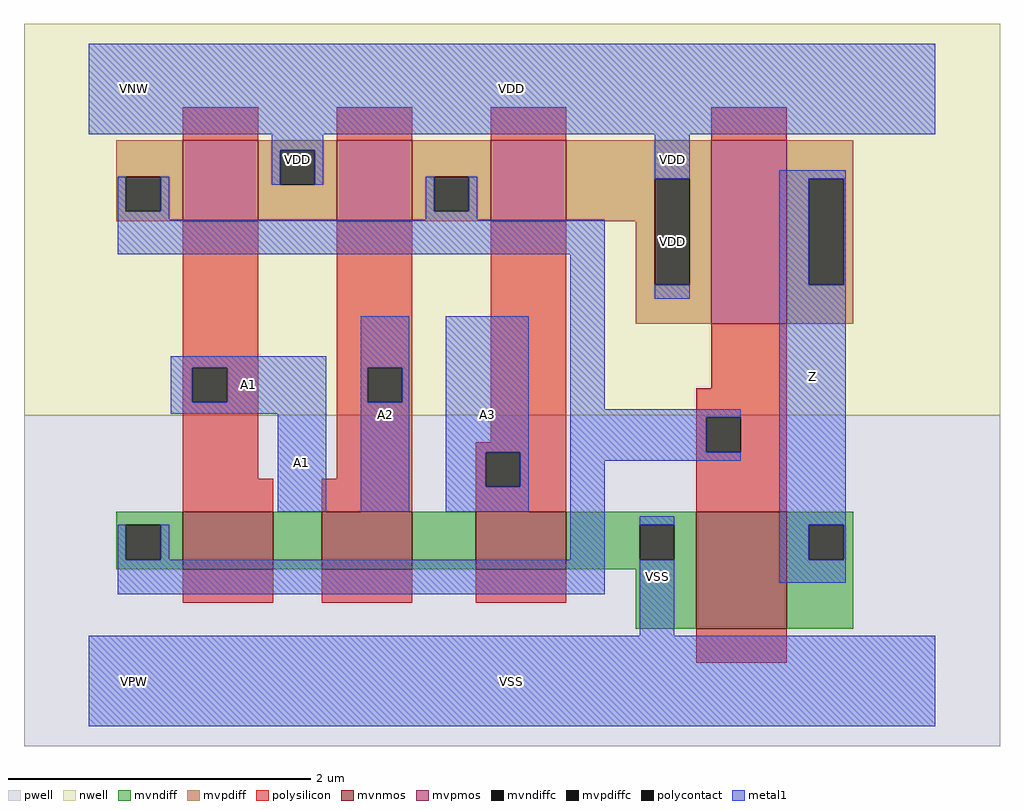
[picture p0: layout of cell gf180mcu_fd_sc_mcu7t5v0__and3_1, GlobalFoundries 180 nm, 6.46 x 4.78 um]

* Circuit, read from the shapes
.subckt gf180mcu_fd_sc_mcu7t5v0__and3_1 A1 A2 A3 Z VDD VNW VPW VSS
XM1 n1 A1 n2 VPW nfet_06v0 w=0.38u l=0.6u
XM2 n3 A2 n1 VPW nfet_06v0 w=0.38u l=0.6u
XM3 VSS A3 n3 VPW nfet_06v0 w=0.38u l=0.6u
XM4 Z n2 VSS VPW nfet_06v0 w=0.775u l=0.6u
XM5 VDD A1 n2 VNW pfet_06v0 w=0.535u l=0.5u
XM6 n2 A2 VDD VNW pfet_06v0 w=0.535u l=0.5u
XM7 VDD A3 n2 VNW pfet_06v0 w=0.535u l=0.5u
XM8 Z n2 VDD VNW pfet_06v0 w=1.215u l=0.5u
.ends

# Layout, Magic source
magic
tech gf180mcuD
magscale 1 10
<< nwell >>
rect -86 352 1206 870
<< pwell >>
rect -86 -86 1206 352
<< mvnmos >>
rect 124 148 244 224
rect 308 148 428 224
rect 512 148 632 224
rect 804 69 924 224
<< mvpmos >>
rect 124 609 224 716
rect 328 609 428 716
rect 532 609 632 716
rect 824 473 924 716
<< mvndiff >>
rect 36 207 124 224
rect 36 161 49 207
rect 95 161 124 207
rect 36 148 124 161
rect 244 148 308 224
rect 428 148 512 224
rect 632 207 804 224
rect 632 161 729 207
rect 775 161 804 207
rect 632 148 804 161
rect 724 69 804 148
rect 924 207 1012 224
rect 924 161 953 207
rect 999 161 1012 207
rect 924 69 1012 161
<< mvpdiff >>
rect 36 668 124 716
rect 36 622 49 668
rect 95 622 124 668
rect 36 609 124 622
rect 224 703 328 716
rect 224 657 253 703
rect 299 657 328 703
rect 224 609 328 657
rect 428 668 532 716
rect 428 622 457 668
rect 503 622 532 668
rect 428 609 532 622
rect 632 665 824 716
rect 632 609 749 665
rect 724 525 749 609
rect 795 525 824 665
rect 724 473 824 525
rect 924 665 1012 716
rect 924 525 953 665
rect 999 525 1012 665
rect 924 473 1012 525
<< mvndiffc >>
rect 49 161 95 207
rect 729 161 775 207
rect 953 161 999 207
<< mvpdiffc >>
rect 49 622 95 668
rect 253 657 299 703
rect 457 622 503 668
rect 749 525 795 665
rect 953 525 999 665
<< polysilicon >>
rect 124 716 224 760
rect 328 716 428 760
rect 532 716 632 760
rect 824 716 924 760
rect 124 415 224 609
rect 124 369 137 415
rect 183 369 224 415
rect 124 268 224 369
rect 328 415 428 609
rect 328 369 369 415
rect 415 369 428 415
rect 328 268 428 369
rect 532 316 632 609
rect 824 388 924 473
rect 124 224 244 268
rect 308 224 428 268
rect 512 303 632 316
rect 512 257 525 303
rect 571 257 632 303
rect 512 224 632 257
rect 804 349 924 388
rect 804 303 817 349
rect 863 303 924 349
rect 804 224 924 303
rect 124 104 244 148
rect 308 104 428 148
rect 512 104 632 148
rect 804 24 924 69
<< polycontact >>
rect 137 369 183 415
rect 369 369 415 415
rect 525 257 571 303
rect 817 303 863 349
<< metal1 >>
rect 0 724 1120 844
rect 242 703 310 724
rect 38 622 49 668
rect 95 622 106 668
rect 242 657 253 703
rect 299 657 310 703
rect 38 611 106 622
rect 446 622 457 668
rect 503 622 514 668
rect 446 611 514 622
rect 749 665 795 724
rect 38 565 683 611
rect 108 415 314 430
rect 108 369 137 415
rect 183 369 314 415
rect 108 354 314 369
rect 250 224 314 354
rect 360 415 424 483
rect 360 369 369 415
rect 415 369 424 415
rect 360 224 424 369
rect 472 303 582 483
rect 472 257 525 303
rect 571 257 582 303
rect 472 224 582 257
rect 637 360 683 565
rect 749 506 795 525
rect 914 665 1002 676
rect 914 525 953 665
rect 999 525 1002 665
rect 637 349 863 360
rect 637 303 817 349
rect 637 292 863 303
rect 38 161 49 207
rect 95 161 106 207
rect 637 161 683 292
rect 38 115 683 161
rect 729 207 775 218
rect 729 60 775 161
rect 914 207 1002 525
rect 914 161 953 207
rect 999 161 1002 207
rect 914 130 1002 161
rect 0 -60 1120 60
<< labels >>
flabel metal1 s 472 224 582 483 0 FreeSans 400 0 0 0 A3
port 3 nsew default input
flabel metal1 s 0 724 1120 844 0 FreeSans 400 0 0 0 VDD
port 5 nsew power bidirectional abutment
flabel metal1 s 729 60 775 218 0 FreeSans 400 0 0 0 VSS
port 8 nsew ground bidirectional abutment
flabel metal1 s 914 130 1002 676 0 FreeSans 400 0 0 0 Z
port 4 nsew default output
flabel metal1 s 108 354 314 430 0 FreeSans 400 0 0 0 A1
port 1 nsew default input
flabel metal1 s 360 224 424 483 0 FreeSans 400 0 0 0 A2
port 2 nsew default input
flabel nwell s 10 734 110 834 0 FreeSans 400 0 0 0 VNW
port 6 nsew power bidirectional
flabel pwell s 10 -50 110 50 0 FreeSans 400 0 0 0 VPW
port 7 nsew ground bidirectional
rlabel metal1 s 250 224 314 354 1 A1
port 1 nsew default input
rlabel metal1 s 749 657 795 724 1 VDD
port 5 nsew power bidirectional abutment
rlabel metal1 s 242 657 310 724 1 VDD
port 5 nsew power bidirectional abutment
rlabel metal1 s 749 506 795 657 1 VDD
port 5 nsew power bidirectional abutment
rlabel metal1 s 0 -60 1120 60 1 VSS
port 8 nsew ground bidirectional abutment
<< properties >>
string FIXED_BBOX 0 0 1120 784
string GDS_END 1223666
string GDS_FILE $PDKPATH/libs.ref/gf180mcu_fd_sc_mcu7t5v0/gds/gf180mcu_fd_sc_mcu7t5v0.gds
string GDS_START 1220322
string LEFclass core
string LEFsite GF018hv5v_mcu_sc7
string LEFsymmetry X Y
<< end >>
